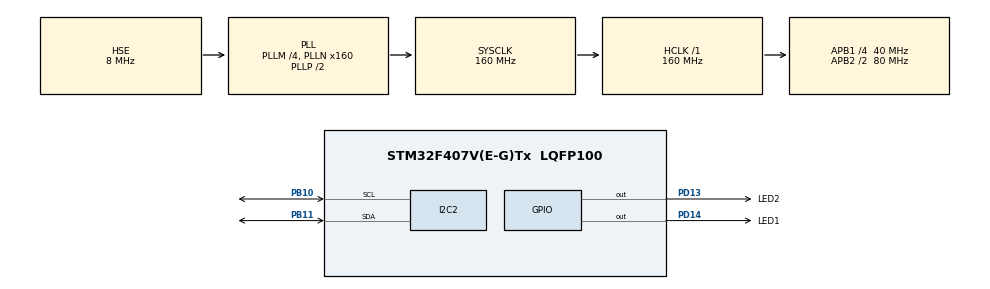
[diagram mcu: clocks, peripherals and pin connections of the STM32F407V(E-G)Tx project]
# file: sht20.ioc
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Mcu.Family=STM32F4
Mcu.Name=STM32F407V(E-G)Tx
Mcu.Package=LQFP100
NVIC.I2C2_ER_IRQn=true\:0\:0\:false\:false\:true\:true\:true\:true
NVIC.I2C2_EV_IRQn=true\:0\:0\:false\:false\:true\:true\:true\:true
NVIC.PriorityGroup=NVIC_PRIORITYGROUP_4
NVIC.RCC_IRQn=true\:0\:0\:false\:false\:true\:true\:false\:true
PB10.Mode=I2C
PB10.Signal=I2C2_SCL
PB11.Mode=I2C
PB11.Signal=I2C2_SDA
PD13.GPIO_Label=LED2
PD13.Signal=GPIO_Output
PD14.GPIO_Label=LED1
PD14.Signal=GPIO_Output
PH0-OSC_IN.Mode=HSE-External-Oscillator
PH0-OSC_IN.Signal=RCC_OSC_IN
PH1-OSC_OUT.Mode=HSE-External-Oscillator
PH1-OSC_OUT.Signal=RCC_OSC_OUT
ProjectManager.HeapSize=0x200
ProjectManager.StackSize=0x400
ProjectManager.TargetToolchain=STM32CubeIDE
RCC.48MHZClocksFreq_Value=80000000
RCC.AHBFreq_Value=160000000
RCC.APB1CLKDivider=RCC_HCLK_DIV4
RCC.APB1Freq_Value=40000000
RCC.APB1TimFreq_Value=80000000
RCC.APB2CLKDivider=RCC_HCLK_DIV2
RCC.APB2Freq_Value=80000000
RCC.APB2TimFreq_Value=160000000
RCC.CortexFreq_Value=160000000
RCC.HCLKFreq_Value=160000000
RCC.HSE_VALUE=8000000
RCC.HSI_VALUE=16000000
RCC.LSE_VALUE=32768
RCC.PLLM=4
RCC.PLLN=160
RCC.PLLSourceVirtual=RCC_PLLSOURCE_HSE
RCC.SYSCLKFreq_VALUE=160000000
RCC.SYSCLKSource=RCC_SYSCLKSOURCE_PLLCLK
RCC.VCOOutputFreq_Value=320000000
board=custom

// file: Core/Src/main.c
/* USER CODE BEGIN Header */
/**
  ******************************************************************************
  * @file           : main.c
  * @brief          : Main program body
  ******************************************************************************
  * @attention
  *
  * Copyright (c) 2023 STMicroelectronics.
  * All rights reserved.
  *
  * This software is licensed under terms that can be found in the LICENSE file
  * in the root directory of this software component.
  * If no LICENSE file comes with this software, it is provided AS-IS.
  *
  ******************************************************************************
  */
/* USER CODE END Header */
#include "main.h"

/* USER CODE BEGIN Includes */
#include "math.h"
/* USER CODE END Includes */

I2C_HandleTypeDef hi2c2;

void SystemClock_Config(void);
static void MX_GPIO_Init(void);
static void MX_I2C2_Init(void);

/* USER CODE BEGIN 0 */
#define I2C_ADDRESS (0x40 << 1)
uint8_t buffer[6] = {0, 0, 0, 0, 0, 0};
uint8_t buffer1[1];
unsigned int t,h;
float Temperature,Humidity;

void HAL_I2C_MasterTxCpltCallback(I2C_HandleTypeDef *hi2c){
	HAL_I2C_Master_Receive_IT(&hi2c2, I2C_ADDRESS, buffer, 3);
}
void HAL_I2C_MasterRxCpltCallback(I2C_HandleTypeDef *hi2c){
	HAL_GPIO_TogglePin(GPIOD, LED1_Pin);
	HAL_GPIO_TogglePin(GPIOD, LED2_Pin);

	t = buffer[0]<<8|buffer[1];
	Temperature = -46.85 + 175.72 * t / pow(2,16);
}
/* USER CODE END 0 */

int main(void)
{

  /* MCU Configuration--------------------------------------------------------*/

  /* Reset of all peripherals, Initializes the Flash interface and the Systick. */
  HAL_Init();

  /* Configure the system clock */
  SystemClock_Config();

  /* Initialize all configured peripherals */
  MX_GPIO_Init();
  MX_I2C2_Init();

  /* Infinite loop */
  /* USER CODE BEGIN WHILE */
  buffer1[0] = 0xFE;
  HAL_I2C_Master_Transmit_IT(&hi2c2, I2C_ADDRESS, buffer1 , 1);
  while (1)
  {
    /* USER CODE END WHILE */

    /* USER CODE BEGIN 3 */
	  buffer1[0] = 0xE3;
	  HAL_I2C_Master_Transmit_IT(&hi2c2, I2C_ADDRESS, buffer1 , 1);
//	  HAL_I2C_Master_Receive_IT(&hi2c2, I2C_ADDRESS, buffer, 3);
//	  t = buffer[0]<<8|buffer[1];
//	  Temperature = -46.85 + 175.72 * t / pow(2,16);
//	  HAL_Delay(100);
//	   {
	     /* Error_Handler() function is called when Timout error occurs.
	        When Acknowledge failure ocucurs (Slave don't acknowledge it's address)
	        Master restarts communication */
//	     if (HAL_I2C_GetError(&hi2c2) != HAL_I2C_ERROR_AF)
//	     {
//	       Error_Handler();
//	     }
//	   }
//	  while (HAL_I2C_GetState(&hi2c2) != HAL_I2C_STATE_READY)
//	  {
//	  }
//	  HAL_Delay(100);
//	  while(HAL_I2C_Master_Receive_IT(&hi2c2, I2C_ADDRESS, buffer, 3) != HAL_OK)
//	    {
//	      /* Error_Handler() function is called when Timout error occurs.
//	         When Acknowledge failure ocucurs (Slave don't acknowledge it's address)
//	         Master restarts communication */
//	      if (HAL_I2C_GetError(&hi2c2) != HAL_I2C_ERROR_AF)
//	      {
//	        Error_Handler();
//	      }
//	    }
  }
  /* USER CODE END 3 */
}

void SystemClock_Config(void)
{
  RCC_OscInitTypeDef RCC_OscInitStruct = {0};
  RCC_ClkInitTypeDef RCC_ClkInitStruct = {0};

  /** Configure the main internal regulator output voltage
  */
  __HAL_RCC_PWR_CLK_ENABLE();
  __HAL_PWR_VOLTAGESCALING_CONFIG(PWR_REGULATOR_VOLTAGE_SCALE1);

  /** Initializes the RCC Oscillators according to the specified parameters
  * in the RCC_OscInitTypeDef structure.
  */
  RCC_OscInitStruct.OscillatorType = RCC_OSCILLATORTYPE_HSE;
  RCC_OscInitStruct.HSEState = RCC_HSE_ON;
  RCC_OscInitStruct.PLL.PLLState = RCC_PLL_ON;
  RCC_OscInitStruct.PLL.PLLSource = RCC_PLLSOURCE_HSE;
  RCC_OscInitStruct.PLL.PLLM = 4;
  RCC_OscInitStruct.PLL.PLLN = 160;
  RCC_OscInitStruct.PLL.PLLP = RCC_PLLP_DIV2;
  RCC_OscInitStruct.PLL.PLLQ = 4;
  if (HAL_RCC_OscConfig(&RCC_OscInitStruct) != HAL_OK)
  {
    Error_Handler();
  }

  /** Initializes the CPU, AHB and APB buses clocks
  */
  RCC_ClkInitStruct.ClockType = RCC_CLOCKTYPE_HCLK|RCC_CLOCKTYPE_SYSCLK
                              |RCC_CLOCKTYPE_PCLK1|RCC_CLOCKTYPE_PCLK2;
  RCC_ClkInitStruct.SYSCLKSource = RCC_SYSCLKSOURCE_PLLCLK;
  RCC_ClkInitStruct.AHBCLKDivider = RCC_SYSCLK_DIV1;
  RCC_ClkInitStruct.APB1CLKDivider = RCC_HCLK_DIV4;
  RCC_ClkInitStruct.APB2CLKDivider = RCC_HCLK_DIV2;

  if (HAL_RCC_ClockConfig(&RCC_ClkInitStruct, FLASH_LATENCY_5) != HAL_OK)
  {
    Error_Handler();
  }
}

static void MX_I2C2_Init(void)
{

  hi2c2.Instance = I2C2;
  hi2c2.Init.ClockSpeed = 100000;
  hi2c2.Init.DutyCycle = I2C_DUTYCYCLE_2;
  hi2c2.Init.OwnAddress1 = 0;
  hi2c2.Init.AddressingMode = I2C_ADDRESSINGMODE_7BIT;
  hi2c2.Init.DualAddressMode = I2C_DUALADDRESS_DISABLE;
  hi2c2.Init.OwnAddress2 = 0;
  hi2c2.Init.GeneralCallMode = I2C_GENERALCALL_DISABLE;
  hi2c2.Init.NoStretchMode = I2C_NOSTRETCH_DISABLE;
  if (HAL_I2C_Init(&hi2c2) != HAL_OK)
  {
    Error_Handler();
  }

}

static void MX_GPIO_Init(void)
{
  GPIO_InitTypeDef GPIO_InitStruct = {0};

  /* GPIO Ports Clock Enable */
  __HAL_RCC_GPIOH_CLK_ENABLE();
  __HAL_RCC_GPIOB_CLK_ENABLE();
  __HAL_RCC_GPIOD_CLK_ENABLE();

  /*Configure GPIO pin Output Level */
  HAL_GPIO_WritePin(GPIOD, LED2_Pin|LED1_Pin, GPIO_PIN_RESET);

  /*Configure GPIO pins : LED2_Pin LED1_Pin */
  GPIO_InitStruct.Pin = LED2_Pin|LED1_Pin;
  GPIO_InitStruct.Mode = GPIO_MODE_OUTPUT_PP;
  GPIO_InitStruct.Pull = GPIO_NOPULL;
  GPIO_InitStruct.Speed = GPIO_SPEED_FREQ_LOW;
  HAL_GPIO_Init(GPIOD, &GPIO_InitStruct);

}

void Error_Handler(void)
{
  __disable_irq();
  while (1)
  {
  }
}
